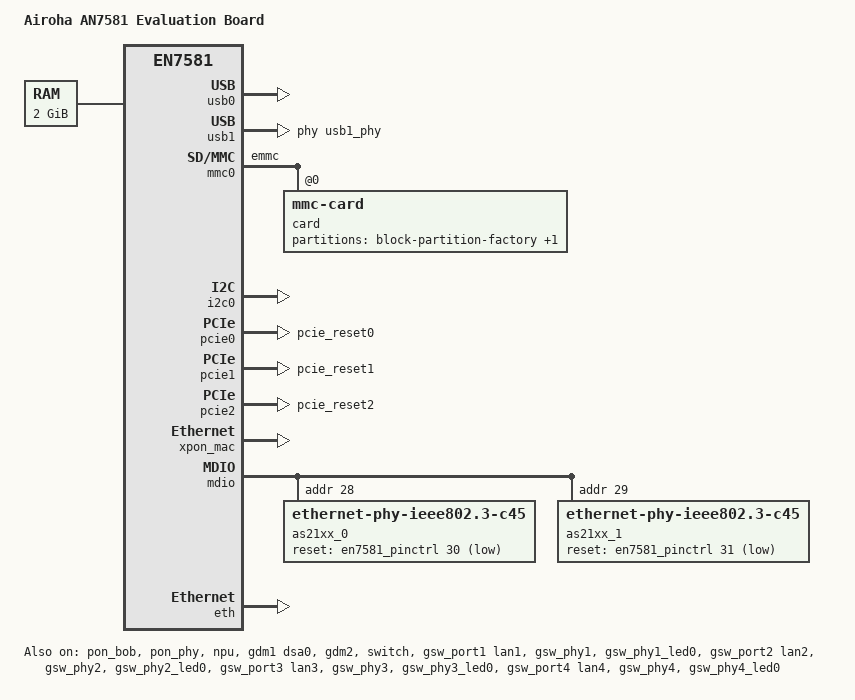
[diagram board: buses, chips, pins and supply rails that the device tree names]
// SPDX-License-Identifier: (GPL-2.0-only OR BSD-2-Clause)
/dts-v1/;

/* Bootloader installs ATF here */
/memreserve/ 0x80000000 0x200000;

#include <dt-bindings/leds/common.h>
#include <dt-bindings/gpio/gpio.h>
#include "an7581.dtsi"
#include "an7581-smartrg-dragontail.dtsi"
#include "an7581-smartrg-pon.dtsi"

/ {
	model = "Airoha AN7581 Evaluation Board";
	compatible = "airoha,an7581-evb", "airoha,an7581", "airoha,en7581";

	aliases {
		serial0 = &uart1;
	};

	chosen {
		bootargs = "console=ttyS0,115200 earlycon";
		stdout-path = "serial0:115200n8";
		linux,usable-memory-range = <0x0 0x80200000 0x0 0x7fe00000>;
	};

	memory@80000000 {
		device_type = "memory";
		reg = <0x0 0x80000000 0x0 0x80000000>;
	};
};

&en7581_pinctrl {
	gpio-ranges = <&en7581_pinctrl 0 13 47>;

	mdio_pins: mdio-pins {
		mux {
			function = "mdio";
			groups = "mdio";
		};

		conf {
			pins = "gpio2";
			output-high;
		};
	};

	pcie0_rst_pins: pcie0-rst-pins {
		conf {
			pins = "pcie_reset0";
			drive-open-drain = <1>;
		};
	};

	pcie1_rst_pins: pcie1-rst-pins {
		conf {
			pins = "pcie_reset1";
			drive-open-drain = <1>;
		};
	};

	pcie2_rst_pins: pcie2-rst-pins {
		conf {
			pins = "pcie_reset2";
			drive-open-drain = <1>;
		};
	};

	gswp1_led0_pins: gswp1-led0-pins {
		mux {
			function = "phy1_led0";
			pins = "gpio33";
		};
	};

	gswp2_led0_pins: gswp2-led0-pins {
		mux {
			function = "phy2_led0";
			pins = "gpio34";
		};
	};

	gswp3_led0_pins: gswp3-led0-pins {
		mux {
			function = "phy3_led0";
			pins = "gpio35";
		};
	};

	gswp4_led0_pins: gswp4-led0-pins {
		mux {
			function = "phy4_led0";
			pins = "gpio42";
		};
	};

	pwm_gpio18_idx10_pins: pwm-gpio18-idx10-pins {
		function = "pwm";
		pins = "gpio18";
		output-enable;
	};

	mmc_pins: mmc-pins {
		mux {
			function = "emmc";
			groups = "emmc";
		};
	};
};

&usb0 {
	status = "okay";
};

&usb1 {
	status = "okay";

	mediatek,u3p-dis-msk = <0x1>;
	phys = <&usb1_phy PHY_TYPE_USB2>;
};

&mmc0 {
	pinctrl-names = "default", "state_uhs";
	pinctrl-0 = <&mmc_pins>;
	pinctrl-1 = <&mmc_pins>;
	status = "okay";

	#address-cells = <1>;
	#size-cells = <0>;

	card@0 {
		#address-cells = <0>;
		#size-cells = <0>;
		compatible = "mmc-card";
		reg = <0>;

		block {
			compatible = "block-device";

			partitions {
				block-partition-factory {
					partname = "factory";

					nvmem-layout {
						compatible = "fixed-layout";
						#address-cells = <1>;
						#size-cells = <1>;

						eeprom_factory_0: eeprom@0 {
							reg = <0x0 0x1e00>;
						};

						pon_factory_1d0000: pon@1d0000 {
							reg = <0x1d0000 0x400>;
						};

						onu_type_factory_1e0000: onu_type@1e0000 {
							reg = <0x1e0000 0x10>;
						};
					};
				};

				block-partition-mfginfo {
					partname = "mfginfo";

					nvmem-layout {
						compatible = "adtran,mfginfo";

						macaddr: mfg-mac {
							#nvmem-cell-cells = <1>;
						};
					};
				};
			};
		};
	};
};

&i2c0 {
	status = "okay";
};

&pcie0 {
	pinctrl-names = "default";
	pinctrl-0 = <&pcie0_rst_pins>;
	status = "okay";
};

&pcie1 {
	pinctrl-names = "default";
	pinctrl-0 = <&pcie1_rst_pins>;
	status = "okay";

	pcie@1,0 {
		reg = <0x0000 0 0 0 0>;
		#address-cells = <3>;
		#size-cells = <2>;

		radio0: mt7996@0,0 {
			reg = <0x0000 0 0 0 0>;
			#address-cells = <1>;
			#size-cells = <0>;

			airoha,npu = <&npu>;
			airoha,eth = <&eth>;
			nvmem-cells = <&eeprom_factory_0>;
			nvmem-cell-names = "eeprom";
			ieee80211-freq-limit = <2400000 2500000>, <5170000 5835000>, <5945000 7125000>;

			band@0 {
				/* 2.4 GHz */
				reg = <0>;
				nvmem-cells = <&macaddr 0x4>;
				nvmem-cell-names = "mac-address";
			};

			band@1 {
				/* 5 GHz */
				reg = <1>;
				nvmem-cells = <&macaddr 0xa>;
				nvmem-cell-names = "mac-address";
			};

			band@2 {
				/* 6 GHz */
				reg = <2>;
				nvmem-cells = <&macaddr 0x6>;
				nvmem-cell-names = "mac-address";
			};
		};
	};
};

&pcie2 {
	pinctrl-names = "default";
	pinctrl-0 = <&pcie2_rst_pins>;
	status = "okay";
};

&pon_bob {
	nvmem-cells = <&pon_factory_1d0000>, <&onu_type_factory_1e0000>;
	nvmem-cell-names = "bob_data", "onu_type";

	status = "okay";
};

&pon_phy {
	status = "okay";
};

&xpon_mac {
	nvmem-cells = <&onu_type_factory_1e0000>, <&macaddr 0x0>;
	nvmem-cell-names = "onu_type", "pon_mac";

	status = "okay";
};

&mdio {
	as21xx_0: ethernet-phy@1c {
		compatible = "ethernet-phy-ieee802.3-c45";
		reg = <0x1c>;

		firmware-name = "as21x1x_fw.bin";

		reset-deassert-us = <1000000>;
		reset-assert-us = <1000000>;
		reset-gpios = <&en7581_pinctrl 30 GPIO_ACTIVE_LOW>;

		leds {
			#address-cells = <1>;
			#size-cells = <0>;

			led@0 {
				reg = <0>;
				color = <LED_COLOR_ID_GREEN>;
				function = LED_FUNCTION_LAN;
				function-enumerator = <0>;
				default-state = "keep";
			};

			led@1 {
				reg = <1>;
				color = <LED_COLOR_ID_GREEN>;
				function = LED_FUNCTION_LAN;
				function-enumerator = <1>;
				default-state = "keep";
			};
		};
	};

	as21xx_1: ethernet-phy@1d {
		compatible = "ethernet-phy-ieee802.3-c45";
		reg = <0x1d>;

		firmware-name = "as21x1x_fw.bin";

		reset-deassert-us = <1000000>;
		reset-assert-us = <1000000>;
		reset-gpios = <&en7581_pinctrl 31 GPIO_ACTIVE_LOW>;

		leds {
			#address-cells = <1>;
			#size-cells = <0>;

			led@0 {
				reg = <0>;
				color = <LED_COLOR_ID_GREEN>;
				function = LED_FUNCTION_LAN;
				function-enumerator = <0>;
				default-state = "keep";
			};

			led@1 {
				reg = <1>;
				color = <LED_COLOR_ID_GREEN>;
				function = LED_FUNCTION_LAN;
				function-enumerator = <1>;
				default-state = "keep";
			};
		};
	};
};

&npu {
	status = "okay";
};

&eth {
	nvmem-cells = <&macaddr 0x0>;
	nvmem-cell-names = "mac";

	status = "okay";
};

&gdm1 {
	label = "dsa0";

	status = "okay";
};

&gdm2 {
	nvmem-cells = <&macaddr 0x0>;
	nvmem-cell-names = "mac-address";

/*
	phy-handle = <&as21xx_0>;
	phy-mode = "usxgmii";
*/

	status = "okay";
};

&gdm4 {
	label = "lan1";
	phy-handle = <&as21xx_1>;
	phy-mode = "usxgmii";

	status = "disabled";
};

&switch {
	pinctrl-names = "default";
	pinctrl-0 = <&mdio_pins>;
	status = "okay";
};

&gsw_port1 {
	status = "okay";
	label = "lan1";
};

&gsw_phy1 {
	pinctrl-names = "gbe-led";
	pinctrl-0 = <&gswp1_led0_pins>;
	status = "okay";
};

&gsw_phy1_led0 {
	status = "okay";
	function = LED_FUNCTION_LAN;
};

&gsw_port2 {
	status = "okay";
	label = "lan2";
};

&gsw_phy2 {
	pinctrl-names = "gbe-led";
	pinctrl-0 = <&gswp2_led0_pins>;
	status = "okay";
};

&gsw_phy2_led0 {
	status = "okay";
	function = LED_FUNCTION_LAN;
};

&gsw_port3 {
	status = "okay";
	label = "lan3";
};

&gsw_phy3 {
	pinctrl-names = "gbe-led";
	pinctrl-0 = <&gswp3_led0_pins>;
	status = "okay";
};

&gsw_phy3_led0 {
	status = "okay";
	function = LED_FUNCTION_LAN;
};

&gsw_port4 {
	status = "okay";
	label = "lan4";
};

&gsw_phy4 {
	pinctrl-names = "gbe-led";
	pinctrl-0 = <&gswp4_led0_pins>;
	status = "okay";
};

&gsw_phy4_led0 {
	status = "okay";
	function = LED_FUNCTION_LAN;
};
